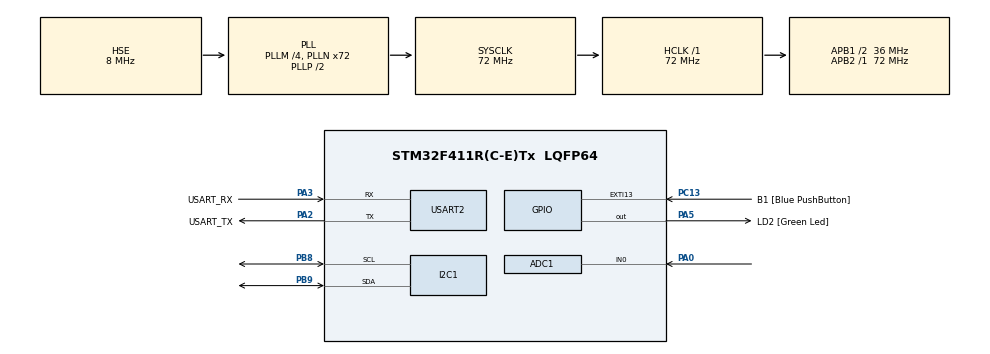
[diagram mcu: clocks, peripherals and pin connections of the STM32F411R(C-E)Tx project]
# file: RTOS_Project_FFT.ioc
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ADC1.Channel-0\#ChannelRegularConversion=ADC_CHANNEL_0
ADC1.DMAContinuousRequests=ENABLE
ADC1.ExternalTrigConv=ADC_EXTERNALTRIGCONV_T2_TRGO
ADC1.NbrOfConversionFlag=1
ADC1.Rank-0\#ChannelRegularConversion=1
ADC1.SamplingTime-0\#ChannelRegularConversion=ADC_SAMPLETIME_3CYCLES
ADC1.master=1
Dma.ADC1.0.Direction=DMA_PERIPH_TO_MEMORY
Dma.ADC1.0.FIFOMode=DMA_FIFOMODE_DISABLE
Dma.ADC1.0.Instance=DMA2_Stream0
Dma.ADC1.0.MemDataAlignment=DMA_MDATAALIGN_HALFWORD
Dma.ADC1.0.MemInc=DMA_MINC_ENABLE
Dma.ADC1.0.Mode=DMA_CIRCULAR
Dma.ADC1.0.PeriphDataAlignment=DMA_PDATAALIGN_HALFWORD
Dma.ADC1.0.PeriphInc=DMA_PINC_DISABLE
Dma.ADC1.0.Priority=DMA_PRIORITY_LOW
Dma.Request0=ADC1
FREERTOS.BinarySemaphores01=SemaphoreBmpQueue,Dynamic,NULL,Available
FREERTOS.Mutexes01=MutexPrintf,Dynamic,NULL,Depleted;MutexI2C1Hendle,Dynamic,NULL,Depleted;MutexBmpDataHandle,Dynamic,NULL,Depleted;MutexBmpData,Dynamic,NULL,Available
FREERTOS.Queues01=QueueBmpData,16,BmpData_t,0,Dynamic,NULL,NULL;QueueFFTData,8,FftData_t,0,Dynamic,NULL,NULL
FREERTOS.Tasks01=HeartBeatTask,24,128,StartHeartBeatTask,Default,NULL,Dynamic,NULL,NULL;Bmp_280Task,32,256,StartBmp_280Task,Default,NULL,Dynamic,NULL,NULL;OledTask,8,256,StartOledTask,Default,NULL,Dynamic,NULL,NULL;FFTTask,40,128,StartFFTTask,Default,NULL,Dynamic,NULL,NULL
FREERTOS.Timers01=TimerBmpData,TimerBmpDataCallback,osTimerPeriodic,Default,NULL,Dynamic,NULL
FREERTOS.configCHECK_FOR_STACK_OVERFLOW=2
FREERTOS.configTOTAL_HEAP_SIZE=32000
FREERTOS.configUSE_MALLOC_FAILED_HOOK=1
FREERTOS.configUSE_NEWLIB_REENTRANT=1
I2C1.I2C_Mode=I2C_Fast
Mcu.Family=STM32F4
Mcu.Name=STM32F411R(C-E)Tx
Mcu.Package=LQFP64
NVIC.ADC_IRQn=true\:5\:0\:false\:false\:true\:true\:true\:true\:true
NVIC.DMA2_Stream0_IRQn=true\:5\:0\:false\:false\:true\:true\:false\:true\:true
NVIC.PriorityGroup=NVIC_PRIORITYGROUP_4
NVIC.TIM1_UP_TIM10_IRQn=true\:15\:0\:false\:false\:true\:false\:false\:true\:true
NVIC.TimeBase=TIM1_UP_TIM10_IRQn
NVIC.TimeBaseIP=TIM10
PA0-WKUP.Signal=ADCx_IN0
PA13.GPIO_Label=TMS
PA13.Mode=Serial_Wire
PA13.Signal=SYS_JTMS-SWDIO
PA14.GPIO_Label=TCK
PA14.Mode=Serial_Wire
PA14.Signal=SYS_JTCK-SWCLK
PA2.GPIO_Label=USART_TX
PA2.Mode=Asynchronous
PA2.Signal=USART2_TX
PA3.GPIO_Label=USART_RX
PA3.Mode=Asynchronous
PA3.Signal=USART2_RX
PA5.GPIO_Label=LD2 [Green Led]
PA5.Signal=GPIO_Output
PB3.GPIO_Label=SWO
PB3.Signal=SYS_JTDO-SWO
PB8.Mode=I2C
PB8.Signal=I2C1_SCL
PB9.Mode=I2C
PB9.Signal=I2C1_SDA
PC13-ANTI_TAMP.GPIO_Label=B1 [Blue PushButton]
PC13-ANTI_TAMP.GPIO_ModeDefaultEXTI=GPIO_MODE_IT_FALLING
PC13-ANTI_TAMP.Signal=GPXTI13
PC14-OSC32_IN.Mode=LSE-External-Oscillator
PC14-OSC32_IN.Signal=RCC_OSC32_IN
PC15-OSC32_OUT.Mode=LSE-External-Oscillator
PC15-OSC32_OUT.Signal=RCC_OSC32_OUT
PH0\ -\ OSC_IN.Mode=HSE-External-Oscillator
PH0\ -\ OSC_IN.Signal=RCC_OSC_IN
PH1\ -\ OSC_OUT.Mode=HSE-External-Oscillator
PH1\ -\ OSC_OUT.Signal=RCC_OSC_OUT
ProjectManager.HeapSize=0x200
ProjectManager.StackSize=0x400
ProjectManager.TargetToolchain=STM32CubeIDE
RCC.48MHZClocksFreq_Value=48000000
RCC.AHBFreq_Value=72000000
RCC.APB1CLKDivider=RCC_HCLK_DIV2
RCC.APB1Freq_Value=36000000
RCC.APB1TimFreq_Value=72000000
RCC.APB2Freq_Value=72000000
RCC.APB2TimFreq_Value=72000000
RCC.CortexFreq_Value=72000000
RCC.FLatency-AdvancedSettings=FLASH_LATENCY_2
RCC.HCLKFreq_Value=72000000
RCC.HSE_VALUE=8000000
RCC.HSI_VALUE=16000000
RCC.PLLM=4
RCC.PLLN=72
RCC.PLLQ=3
RCC.PLLSourceVirtual=RCC_PLLSOURCE_HSE
RCC.SYSCLKFreq_VALUE=72000000
RCC.SYSCLKSource=RCC_SYSCLKSOURCE_PLLCLK
RCC.VCOOutputFreq_Value=144000000
SH.ADCx_IN0.0=ADC1_IN0,IN0
TIM2.Period=634
TIM2.Prescaler=2
TIM2.TIM_MasterOutputTrigger=TIM_TRGO_UPDATE
USART2.VirtualMode=VM_ASYNC
VP_FREERTOS_VS_CMSIS_V2.Mode=CMSIS_V2
VP_SYS_VS_tim10.Mode=TIM10
VP_TIM2_VS_ClockSourceINT.Mode=Internal
board=NUCLEO-F411RE

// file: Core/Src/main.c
/* USER CODE BEGIN Header */
/**
  ******************************************************************************
  * @file           : main.c
  * @brief          : Main program body
  ******************************************************************************
  * @attention
  *
  * Copyright (c) 2025 STMicroelectronics.
  * All rights reserved.
  *
  * This software is licensed under terms that can be found in the LICENSE file
  * in the root directory of this software component.
  * If no LICENSE file comes with this software, it is provided AS-IS.
  *
  ******************************************************************************
  */
/* USER CODE END Header */
#include "main.h"
#include "cmsis_os.h"
#include "adc.h"
#include "dma.h"
#include "i2c.h"
#include "tim.h"
#include "usart.h"
#include "gpio.h"

void SystemClock_Config(void);
void MX_FREERTOS_Init(void);

int main(void)
{

  /* MCU Configuration--------------------------------------------------------*/

  /* Reset of all peripherals, Initializes the Flash interface and the Systick. */
  HAL_Init();

  /* Configure the system clock */
  SystemClock_Config();

  /* Initialize all configured peripherals */
  MX_GPIO_Init();
  MX_DMA_Init();
  MX_USART2_UART_Init();
  MX_I2C1_Init();
  MX_ADC1_Init();
  MX_TIM2_Init();

  /* Init scheduler */
  osKernelInitialize();

  /* Call init function for freertos objects (in cmsis_os2.c) */
  MX_FREERTOS_Init();

  /* Start scheduler */
  osKernelStart();

  /* We should never get here as control is now taken by the scheduler */

  /* Infinite loop */
  while (1)
  {

  }
}

void SystemClock_Config(void)
{
  RCC_OscInitTypeDef RCC_OscInitStruct = {0};
  RCC_ClkInitTypeDef RCC_ClkInitStruct = {0};

  /** Configure the main internal regulator output voltage
  */
  __HAL_RCC_PWR_CLK_ENABLE();
  __HAL_PWR_VOLTAGESCALING_CONFIG(PWR_REGULATOR_VOLTAGE_SCALE1);

  /** Initializes the RCC Oscillators according to the specified parameters
  * in the RCC_OscInitTypeDef structure.
  */
  RCC_OscInitStruct.OscillatorType = RCC_OSCILLATORTYPE_HSE;
  RCC_OscInitStruct.HSEState = RCC_HSE_ON;
  RCC_OscInitStruct.PLL.PLLState = RCC_PLL_ON;
  RCC_OscInitStruct.PLL.PLLSource = RCC_PLLSOURCE_HSE;
  RCC_OscInitStruct.PLL.PLLM = 4;
  RCC_OscInitStruct.PLL.PLLN = 72;
  RCC_OscInitStruct.PLL.PLLP = RCC_PLLP_DIV2;
  RCC_OscInitStruct.PLL.PLLQ = 3;
  if (HAL_RCC_OscConfig(&RCC_OscInitStruct) != HAL_OK)
  {
    Error_Handler();
  }

  /** Initializes the CPU, AHB and APB buses clocks
  */
  RCC_ClkInitStruct.ClockType = RCC_CLOCKTYPE_HCLK|RCC_CLOCKTYPE_SYSCLK
                              |RCC_CLOCKTYPE_PCLK1|RCC_CLOCKTYPE_PCLK2;
  RCC_ClkInitStruct.SYSCLKSource = RCC_SYSCLKSOURCE_PLLCLK;
  RCC_ClkInitStruct.AHBCLKDivider = RCC_SYSCLK_DIV1;
  RCC_ClkInitStruct.APB1CLKDivider = RCC_HCLK_DIV2;
  RCC_ClkInitStruct.APB2CLKDivider = RCC_HCLK_DIV1;

  if (HAL_RCC_ClockConfig(&RCC_ClkInitStruct, FLASH_LATENCY_2) != HAL_OK)
  {
    Error_Handler();
  }
}

void HAL_TIM_PeriodElapsedCallback(TIM_HandleTypeDef *htim)
{
  if (htim->Instance == TIM10) {
    HAL_IncTick();
  }
}

void Error_Handler(void)
{
  __disable_irq();
  while (1)
  {
  }
}

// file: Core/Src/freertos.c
/* USER CODE BEGIN Header */
/**
  ******************************************************************************
  * File Name          : freertos.c
  * Description        : Code for freertos applications
  ******************************************************************************
  * @attention
  *
  * Copyright (c) 2025 STMicroelectronics.
  * All rights reserved.
  *
  * This software is licensed under terms that can be found in the LICENSE file
  * in the root directory of this software component.
  * If no LICENSE file comes with this software, it is provided AS-IS.
  *
  ******************************************************************************
  */
/* USER CODE END Header */

#include "FreeRTOS.h"
#include "task.h"
#include "main.h"
#include "cmsis_os.h"

/* USER CODE BEGIN Includes */
#include "bmp280.h"
#include "i2c.h"
#include "printf.h"
#include "usart.h"
#include "SSD1306_OLED.h"
#include "GFX_BW.h"
#include "font_8x5.h"
#include "fonts.h"
#include "arm_math.h"
#include "tim.h"
#include "adc.h"
/* USER CODE END Includes */

/* USER CODE BEGIN PD */
#define FFT_SAMPLES 1024
/* USER CODE END PD */

/* USER CODE BEGIN Variables */
typedef struct
{
float Pressure;
float Temperature;
}BmpData_t;

typedef struct
{
	uint8_t OutFreqArray[10];
} FftData_t;

/* USER CODE END Variables */
/* Definitions for HeartBeatTask */
osThreadId_t HeartBeatTaskHandle;
const osThreadAttr_t HeartBeatTask_attributes = {
  .name = "HeartBeatTask",
  .stack_size = 128 * 4,
  .priority = (osPriority_t) osPriorityNormal,
};
/* Definitions for Bmp_280Task */
osThreadId_t Bmp_280TaskHandle;
const osThreadAttr_t Bmp_280Task_attributes = {
  .name = "Bmp_280Task",
  .stack_size = 256 * 4,
  .priority = (osPriority_t) osPriorityAboveNormal,
};
/* Definitions for OledTask */
osThreadId_t OledTaskHandle;
const osThreadAttr_t OledTask_attributes = {
  .name = "OledTask",
  .stack_size = 256 * 4,
  .priority = (osPriority_t) osPriorityLow,
};
/* Definitions for FFTTask */
osThreadId_t FFTTaskHandle;
const osThreadAttr_t FFTTask_attributes = {
  .name = "FFTTask",
  .stack_size = 128 * 4,
  .priority = (osPriority_t) osPriorityHigh,
};
/* Definitions for QueueBmpData */
osMessageQueueId_t QueueBmpDataHandle;
const osMessageQueueAttr_t QueueBmpData_attributes = {
  .name = "QueueBmpData"
};
/* Definitions for QueueFFTData */
osMessageQueueId_t QueueFFTDataHandle;
const osMessageQueueAttr_t QueueFFTData_attributes = {
  .name = "QueueFFTData"
};
/* Definitions for TimerBmpData */
osTimerId_t TimerBmpDataHandle;
const osTimerAttr_t TimerBmpData_attributes = {
  .name = "TimerBmpData"
};
/* Definitions for MutexPrintf */
osMutexId_t MutexPrintfHandle;
const osMutexAttr_t MutexPrintf_attributes = {
  .name = "MutexPrintf"
};
/* Definitions for MutexI2C1Hendle */
osMutexId_t MutexI2C1HendleHandle;
const osMutexAttr_t MutexI2C1Hendle_attributes = {
  .name = "MutexI2C1Hendle"
};
/* Definitions for MutexBmpDataHandle */
osMutexId_t MutexBmpDataHandleHandle;
const osMutexAttr_t MutexBmpDataHandle_attributes = {
  .name = "MutexBmpDataHandle"
};
/* Definitions for MutexBmpData */
osMutexId_t MutexBmpDataHandle;
const osMutexAttr_t MutexBmpData_attributes = {
  .name = "MutexBmpData"
};
/* Definitions for SemaphoreBmpQueue */
osSemaphoreId_t SemaphoreBmpQueueHandle;
const osSemaphoreAttr_t SemaphoreBmpQueue_attributes = {
  .name = "SemaphoreBmpQueue"
};

/* USER CODE BEGIN FunctionPrototypes */

void _putchar(char character)
{
  // send char to console etc.
	osMutexAcquire(MutexPrintfHandle, osWaitForever);
	HAL_UART_Transmit(&huart2, (uint8_t*)&character, 1, 1000);
	osMutexRelease(MutexPrintfHandle);
}

float complexABS(float real, float compl) {
	return sqrtf(real*real+compl*compl);
}

/* USER CODE END FunctionPrototypes */

void StartHeartBeatTask(void *argument);
void StartBmp_280Task(void *argument);
void StartOledTask(void *argument);
void StartFFTTask(void *argument);
void TimerBmpDataCallback(void *argument);

void MX_FREERTOS_Init(void); /* (MISRA C 2004 rule 8.1) */

/* Hook prototypes */
void vApplicationStackOverflowHook(xTaskHandle xTask, signed char *pcTaskName);
void vApplicationMallocFailedHook(void);

/* USER CODE BEGIN 4 */
void vApplicationStackOverflowHook(xTaskHandle xTask, signed char *pcTaskName)
{
   /* Run time stack overflow checking is performed if
   configCHECK_FOR_STACK_OVERFLOW is defined to 1 or 2. This hook function is
   called if a stack overflow is detected. */

}
/* USER CODE END 4 */

/* USER CODE BEGIN 5 */
void vApplicationMallocFailedHook(void)
{
   /* vApplicationMallocFailedHook() will only be called if
   configUSE_MALLOC_FAILED_HOOK is set to 1 in FreeRTOSConfig.h. It is a hook
   function that will get called if a call to pvPortMalloc() fails.
   pvPortMalloc() is called internally by the kernel whenever a task, queue,
   timer or semaphore is created. It is also called by various parts of the
   demo application. If heap_1.c or heap_2.c are used, then the size of the
   heap available to pvPortMalloc() is defined by configTOTAL_HEAP_SIZE in
   FreeRTOSConfig.h, and the xPortGetFreeHeapSize() API function can be used
   to query the size of free heap space that remains (although it does not
   provide information on how the remaining heap might be fragmented). */
}
/* USER CODE END 5 */

void MX_FREERTOS_Init(void) {
  /* Create the mutex(es) */
  /* creation of MutexPrintf */
  MutexPrintfHandle = osMutexNew(&MutexPrintf_attributes);

  /* creation of MutexI2C1Hendle */
  MutexI2C1HendleHandle = osMutexNew(&MutexI2C1Hendle_attributes);

  /* creation of MutexBmpDataHandle */
  MutexBmpDataHandleHandle = osMutexNew(&MutexBmpDataHandle_attributes);

  /* creation of MutexBmpData */
  MutexBmpDataHandle = osMutexNew(&MutexBmpData_attributes);

  /* Create the semaphores(s) */
  /* creation of SemaphoreBmpQueue */
  SemaphoreBmpQueueHandle = osSemaphoreNew(1, 1, &SemaphoreBmpQueue_attributes);

  /* Create the timer(s) */
  /* creation of TimerBmpData */
  TimerBmpDataHandle = osTimerNew(TimerBmpDataCallback, osTimerPeriodic, NULL, &TimerBmpData_attributes);

  /* Create the queue(s) */
  /* creation of QueueBmpData */
  QueueBmpDataHandle = osMessageQueueNew (16, sizeof(BmpData_t), &QueueBmpData_attributes);

  /* creation of QueueFFTData */
  QueueFFTDataHandle = osMessageQueueNew (8, sizeof(FftData_t), &QueueFFTData_attributes);

  /* Create the thread(s) */
  /* creation of HeartBeatTask */
  HeartBeatTaskHandle = osThreadNew(StartHeartBeatTask, NULL, &HeartBeatTask_attributes);

  /* creation of Bmp_280Task */
  Bmp_280TaskHandle = osThreadNew(StartBmp_280Task, NULL, &Bmp_280Task_attributes);

  /* creation of OledTask */
  OledTaskHandle = osThreadNew(StartOledTask, NULL, &OledTask_attributes);

  /* creation of FFTTask */
  FFTTaskHandle = osThreadNew(StartFFTTask, NULL, &FFTTask_attributes);

}

void StartHeartBeatTask(void *argument)
{
  /* USER CODE BEGIN StartHeartBeatTask */
  /* Infinite loop */
  for(;;)
  {
	  HAL_GPIO_TogglePin(LD2_GPIO_Port, LD2_Pin);
	  osDelay(500);
  }
  /* USER CODE END StartHeartBeatTask */
}

void StartBmp_280Task(void *argument)
{
  /* USER CODE BEGIN StartBmp_280Task */
	BMP280_t Bmp280;
	BmpData_t _BmpData;
	uint32_t DelayTick = osKernelGetTickCount();

	osMutexAcquire(MutexI2C1HendleHandle, osWaitForever);
	BMP280_Init(&Bmp280, &hi2c1, 0x76);
	osMutexRelease(MutexI2C1HendleHandle);

	osTimerStart(TimerBmpDataHandle, 100);
  /* Infinite loop */
  for(;;)
  {
	  osMutexAcquire(MutexI2C1HendleHandle, osWaitForever);
	  BMP280_ReadPressureAndTemperature(&Bmp280, &_BmpData.Pressure, &_BmpData.Temperature);
	  osMutexRelease(MutexI2C1HendleHandle);

	  if(osOK == osSemaphoreAcquire(SemaphoreBmpQueueHandle, 0));
	  osMessageQueuePut(QueueBmpDataHandle, &_BmpData, 0, osWaitForever);

//	  osMutexAcquire(MutexBmpDataHandleHandle, osWaitForever);
//	  Pressure = _BmpData.Pressure;
//	  Temperature = _BmpData.Temperature;
//	  osMutexRelease(MutexBmpDataHandleHandle);

	  printf("Temperature: %.2f, Pressure: %.2f\n\r", _BmpData.Temperature, _BmpData.Pressure);

	  DelayTick += 10;
	  osDelayUntil(DelayTick);
  }

  /* USER CODE END StartBmp_280Task */
}

void StartOledTask(void *argument)
{
  /* USER CODE BEGIN StartOledTask */
	char Message[32];
	uint8_t i = 0;
	BmpData_t _BmpData;

	FftData_t FftData;

	osMutexAcquire(MutexI2C1HendleHandle, osWaitForever);
	SSD1306_Init(&hi2c1);
	osMutexRelease(MutexI2C1HendleHandle);

	GFX_SetFont(font_8x5);

	SSD1306_Clear(BLACK);

//	osMutexAcquire(MutexI2C1HendleHandle, osWaitForever);
	SSD1306_Display();
//	osMutexRelease(MutexI2C1HendleHandle);

  /* Infinite loop */
  for(;;)
  {
	SSD1306_Clear(BLACK);

	sprintf(Message, "Hello %d", i++);

	GFX_DrawString(0, 0, Message, WHITE, 0);

//	osMutexAcquire(MutexBmpDataHandleHandle, osWaitForever);
//	_BmpData.Pressure = Pressure;
//	_BmpData.Temperature = Temperature;
//	osMutexRelease(MutexBmpDataHandleHandle);

	osMessageQueueGet(QueueBmpDataHandle, &_BmpData, NULL, 0);

	osMessageQueueGet(QueueFFTDataHandle, &FftData, NULL, 0);

	sprintf(Message, "Press: %.2f", _BmpData.Pressure);
	GFX_DrawString(0, 10, Message, WHITE, 0);

	sprintf(Message, "Temp: %.2f", _BmpData.Temperature);
	GFX_DrawString(0, 20, Message, WHITE, 0);

	//
	// FFT
	//
	for(uint8_t i = 0; i < 10; i++) // Each frequency
	{
	  GFX_DrawFillRectangle(10+(i*11), 64-FftData.OutFreqArray[i], 10, FftData.OutFreqArray[i], WHITE);
	}

//	osMutexAcquire(MutexI2C1HendleHandle, osWaitForever);
	SSD1306_Display();
//	osMutexRelease(MutexI2C1HendleHandle);
//    osDelay(100);

  }
  /* USER CODE END StartOledTask */
}

void StartFFTTask(void *argument)
{
  /* USER CODE BEGIN StartFFTTask */
	arm_rfft_fast_instance_f32 FFTHandler;
	FftData_t FftData;
	int FreqPoint = 0;
	int Offset = 40; // variable noise floor offset

	//
	// FFT
	//
	uint16_t *AdcMicrophone;
	float *FFTInBuffer;
	float *FFTOutBuffer;
	int *Freqs;

	AdcMicrophone = pvPortMalloc(FFT_SAMPLES * sizeof(uint16_t));
	FFTInBuffer = pvPortMalloc(FFT_SAMPLES * sizeof(float));
	FFTOutBuffer = pvPortMalloc(FFT_SAMPLES * sizeof(float));
	Freqs = pvPortMalloc(FFT_SAMPLES * sizeof(int));

	HAL_TIM_Base_Start(&htim2);
	HAL_ADC_Start_DMA(&hadc1, (uint32_t*)AdcMicrophone, FFT_SAMPLES);

	arm_rfft_fast_init_f32(&FFTHandler, FFT_SAMPLES);

  /* Infinite loop */
  for(;;)
  {
	  osThreadFlagsWait(0x01, osFlagsWaitAll, osWaitForever);

	  for(uint32_t i = 0; i < FFT_SAMPLES; i++)
	  {
		  FFTInBuffer[i] =  (float)AdcMicrophone[i];
	  }

	  arm_rfft_fast_f32(&FFTHandler, FFTInBuffer, FFTOutBuffer, 0);

		FreqPoint = 0;
		// calculate abs values and linear-to-dB
		for (int i = 0; i < FFT_SAMPLES; i = i+2)
		{
			Freqs[FreqPoint] = (int)(20*log10f(complexABS(FFTOutBuffer[i], FFTOutBuffer[i+1]))) - Offset;

			if(Freqs[FreqPoint] < 0)
			{
				Freqs[FreqPoint] = 0;
			}
			FreqPoint++;
		}

		FftData.OutFreqArray[0] = (uint8_t)Freqs[1]; // 22 Hz
		FftData.OutFreqArray[1] = (uint8_t)Freqs[2]; // 63 Hz
		FftData.OutFreqArray[2] = (uint8_t)Freqs[3]; // 125 Hz
		FftData.OutFreqArray[3] = (uint8_t)Freqs[6]; // 250 Hz
		FftData.OutFreqArray[4] = (uint8_t)Freqs[12]; // 500 Hz
		FftData.OutFreqArray[5] = (uint8_t)Freqs[23]; // 1000 Hz
		FftData.OutFreqArray[6] = (uint8_t)Freqs[51]; // 2200 Hz
		FftData.OutFreqArray[7] = (uint8_t)Freqs[104]; // 4500 Hz
		FftData.OutFreqArray[8] = (uint8_t)Freqs[207]; // 9000 Hz
		FftData.OutFreqArray[9] = (uint8_t)Freqs[344]; // 15000 Hz

		osMessageQueuePut(QueueFFTDataHandle, &FftData, 0, osWaitForever);
  }
  /* USER CODE END StartFFTTask */
}

/* TimerBmpDataCallback function */
void TimerBmpDataCallback(void *argument)
{
  /* USER CODE BEGIN TimerBmpDataCallback */
	osSemaphoreRelease(SemaphoreBmpQueueHandle);
  /* USER CODE END TimerBmpDataCallback */
}

/* USER CODE BEGIN Application */
void HAL_ADC_ConvCpltCallback(ADC_HandleTypeDef *hadc)
{
	if(hadc->Instance == ADC1)
	{
//	SamplesReady = 1;
		osThreadFlagsSet(FFTTaskHandle, 0x01);
	}
}

/* USER CODE END Application */
